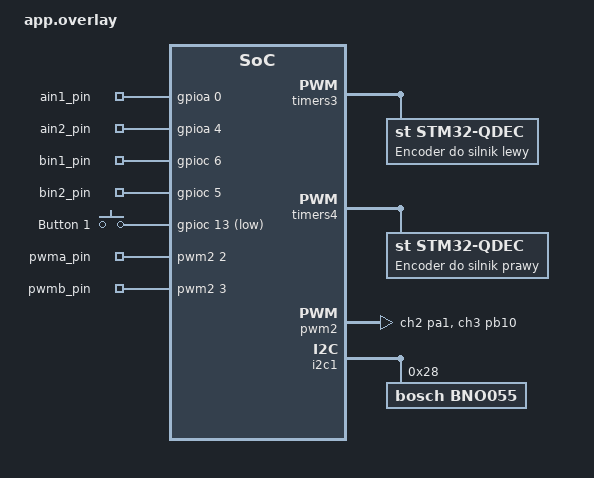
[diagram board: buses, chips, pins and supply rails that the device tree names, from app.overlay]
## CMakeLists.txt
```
cmake_minimum_required(VERSION 3.20)
find_package(Zephyr REQUIRED HINTS $ENV{ZEPHYR_BASE})
project(testsilnika)
target_sources(app PRIVATE src/main.c src/shared_data.h src/task_motors.c src/task_motors.h src/task_imu.c src/imu.c)
```

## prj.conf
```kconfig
CONFIG_GPIO=y
CONFIG_PWM=y
CONFIG_SENSOR=y
CONFIG_PRINTK=y
CONFIG_QDEC_STM32=y
CONFIG_CBPRINTF_FP_SUPPORT=y
CONFIG_I2C=y
CONFIG_BNO55=y
```

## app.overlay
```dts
/{
    aliases {
        motor-ain1 = &ain1_pin;
        motor-ain2 = &ain2_pin;
        motor-bin1 = &bin1_pin;
        motor-bin2 = &bin2_pin;
        motor-pwma = &pwma_pin;
        motor-pwmb = &pwmb_pin;
        encoder-left = &qdec_l;
        encoder-right = &qdec_r;

    };

    leds {
        compatible = "gpio-leds";
        ain1_pin: ain1 {
            gpios = <&gpioa 0 GPIO_ACTIVE_HIGH>;
        };
        ain2_pin: ain2 {
            gpios = <&gpioa 4 GPIO_ACTIVE_HIGH>;
        };
        bin1_pin: bin1 {
            gpios = <&gpioc 6 GPIO_ACTIVE_HIGH>;
        };
        bin2_pin: bin2 {
            gpios = <&gpioc 5 GPIO_ACTIVE_HIGH>;
        };
    };

    gpio_keys {
        compatible = "gpio-keys";
        button1: button1 {
            gpios = <&gpioc 13 GPIO_ACTIVE_LOW>;
            label = "Button 1";
            // linux,code = <28>;
        };
    };

    pwm_motors {
        compatible = "pwm-leds";
        pwma_pin: pwma {
            /* 100 000 nanosekund = 10 kHz */
            pwms = <&pwm2 2 100000 PWM_POLARITY_NORMAL>;
        };
        pwmb_pin:pwmb {
            /* 100 000 nanosekund = 10 kHz */
            pwms = <&pwm2 3 100000 PWM_POLARITY_NORMAL>;
        };
    };
};

&timers3 {
    status = "okay";

    pwm {
        status = "disabled";
    };

    qdec_l: encoder_left {
        compatible = "st,stm32-qdec";
        status = "okay";
        pinctrl-0 = <&tim3_ch1_pa6 &tim3_ch2_pa7>;
        pinctrl-names = "default";
        st,counts-per-revolution = <660>;
        label = "Encoder do silnik lewy";
    };
};
&timers4 {
    status = "okay";

    pwm {
        status = "disabled";
    };
    qdec_r: encoder_right {
        compatible = "st,stm32-qdec";
        status = "okay";
        pinctrl-0 = <&tim4_ch1_pb6 &tim4_ch2_pb7>;
        pinctrl-names = "default";
        st,counts-per-revolution = <660>;
        label = "Encoder do silnik prawy";
    };
};


&pwm2 {
    status = "okay";
    pinctrl-0 = <&tim2_ch2_pa1 &tim2_ch3_pb10>;
    pinctrl-names = "default";
};

&i2c1 {

    status ="okay";

    bno055@28{
    compatible ="bosch,bno055";
    status = "okay";
    reg = <0x28>;
    };

};

&spi1 {
    status = "disabled";
};
```

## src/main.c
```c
#include <zephyr/kernel.h>
#include <zephyr/drivers/gpio.h>
#include <zephyr/drivers/pwm.h>
#include <zephyr/drivers/sensor.h>
#include <zephyr/devicetree.h>
#include <zephyr/drivers/i2c.h>
#include "shared_data.h"

//aliasy
 const struct gpio_dt_spec ain1 = GPIO_DT_SPEC_GET(DT_ALIAS(motor_ain1), gpios);
 const struct gpio_dt_spec ain2 = GPIO_DT_SPEC_GET(DT_ALIAS(motor_ain2), gpios);
 const struct gpio_dt_spec bin1 = GPIO_DT_SPEC_GET(DT_ALIAS(motor_bin1), gpios);
 const struct gpio_dt_spec bin2 = GPIO_DT_SPEC_GET(DT_ALIAS(motor_bin2), gpios);

 const struct pwm_dt_spec pwma = PWM_DT_SPEC_GET(DT_ALIAS(motor_pwma));
 const struct pwm_dt_spec pwmb = PWM_DT_SPEC_GET(DT_ALIAS(motor_pwmb));
 const struct device *const encoder_left = DEVICE_DT_GET(DT_ALIAS(encoder_left));
 const struct device *const encoder_right = DEVICE_DT_GET(DT_ALIAS(encoder_right));
 const struct i2c_dt_spec imu = I2C_DT_SPEC_GET(DT_ALIAS(imu));

 atomic_t robot_state = ATOMIC_INIT(STATE_OKAY); // inicjalizujemy stan poczatkowy robotaja na ok;



int main(void)
{
    if (!gpio_is_ready_dt(&ain1) || !gpio_is_ready_dt(&ain2) || !pwm_is_ready_dt(&pwma) || !device_is_ready(encoder_left) || !device_is_ready(encoder_right) || !i2c_is_ready_dt(&imu) || !gpio_is_ready_dt(&bin1) || !gpio_is_ready_dt(&bin2) || !pwm_is_ready_dt(&pwmb)) {
        printk("BLAD: Sprzet nie jest gotowy!\n");

        
        return 0;
    }

    
    gpio_pin_configure_dt(&ain1, GPIO_OUTPUT_ACTIVE);
    gpio_pin_configure_dt(&ain2, GPIO_OUTPUT_INACTIVE);


    gpio_pin_configure_dt(&bin1, GPIO_OUTPUT_ACTIVE);
    gpio_pin_configure_dt(&bin2, GPIO_OUTPUT_INACTIVE);

   

    printk("Main konczy prace, oddaje sterowanie do taskow!\n");

    return 0;
}
```

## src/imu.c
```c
#include "imu.h"

#define BNO055_REG_OPR_MODE   0x3D
#define BNO055_MODE_NDOF      0x0C
#define BNO055_REG_CALIB_STAT 0x35
#define BNO055_REG_EULER_BASE 0x1A

extern const struct i2c_dt_spec imu;




bool imu_turn_on(void)
{
 

uint8_t buffer[2] = {BNO055_REG_OPR_MODE, BNO055_MODE_NDOF};
int ret = i2c_write_dt(&imu, buffer, sizeof(buffer));
  if(ret != 0)
  {
    printk("FAILED TO TURN ON IMU\n");
    return false;
  }
  return true;
}

bool imu_if_ready(void)
{
  uint8_t reg_addr = BNO055_REG_CALIB_STAT;
  uint8_t calib_state = 0;

  int ret =  i2c_write_read_dt(&imu,&reg_addr,1, &calib_state, 1);

  if(ret!=0)
  {
    return false;
  }
  //0xFF czyli jesli wszystko dziala gyro,akcelerometr magnetrometr
  if(calib_state < 0xFF)
  {
    return true;
  }
  return false;
}

bool imu_read_data(float *yaw, float *roll,float *pitch)
{
    uint8_t reg_addr = BNO055_REG_EULER_BASE;
    uint8_t data_buff[6] = {0};

    int ret = i2c_write_read_dt(&imu,&reg_addr,1,data_buff,6);

    if(ret !=0)
    {
        printk("FAILED TO WRITE/READ DATA I2C device adress\n");
        return false;
    }

    *yaw   = (float)((int16_t)((data_buff[1] << 8) | data_buff[0]))/16.0f;
    *roll  = (float)((int16_t)((data_buff[3] << 8) | data_buff[2]))/16.0f;
    *pitch = (float)((int16_t)((data_buff[5] << 8) | data_buff[4]))/16.0f;

    return true;
}
```

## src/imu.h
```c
#include <zephyr/drivers/i2c.h>
#include "stdlib.h"

bool imu_turn_on(void);


bool imu_if_ready(void);
bool imu_read_data(float *yaw, float *roll, float *pitch);
```

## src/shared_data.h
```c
typedef struct {
    float v_left_mps;  // predkosc lewego kola w metrach na sekunde
    float v_right_mps; // predkosc prawego kola w metrach na sekunde
    int32_t timestamp_ms;     // czas w milisekundach od uruchomienia programu
    int64_t acumulated_left_encoder_ticks;  // skumulowana liczba tickow z lewego enkodera
    int64_t acumulated_right_encoder_ticks; // skumulowana liczba tickow z prawego enkodera
    float motor_angular_speed;
    float robot_speed_mps;
    } motor_sample_t;


typedef struct {
    float yaw;
    float roll;
    float pitch;
} imu_sample_t;

typedef enum{
    STATE_OKAY = 0,
    STATE_TIPPED,
    STATE_SENSOR_ERROR,
    STATE_ROS_ERROR,
    STATE_MOTOR_FAULT,
    STATE_LOW_BATTERY,//jak dojdzie akus kiedys

} robot_state_t;
```

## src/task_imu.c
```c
#define  STACK_SIZE 1024
#define PRIORITY 4
#define SAMPLE_PERIOD_MS 10

#include <zephyr/kernel.h>
#include <zephyr/drivers/gpio.h>
#include <zephyr/drivers/sensor.h>
#include "shared_data.h"
#include <zephyr/drivers/i2c.h>

#include "imu.h"




//thread definition
void task_imu(void *arg1,void *arg2,void *arg3);

//task definition
K_THREAD_DEFINE(imu_thread_id, STACK_SIZE, task_imu, NULL, NULL, NULL, PRIORITY, 0, 0);

//timer to better synchronize
K_TIMER_DEFINE(imu_sample_timer,NULL,NULL);

//i2c struct
extern const struct i2c_dt_spec imu;

void task_imu(void *arg1,void *arg2,void *arg3)
{
  

    k_msleep(50);

    k_timer_start(&imu_sample_timer, K_MSEC(SAMPLE_PERIOD_MS), K_MSEC(SAMPLE_PERIOD_MS));

    //variables to store imu data (yaw,pitch,roll)
    float yaw = 0.0f;
    float pitch = 0.0f;
    float roll = 0.0f;

    if(!imu_turn_on())
    {
      //doda sie state machine ogolnie 
      printk("Blad wlaczenia czujnika!\n");
    }

     
    
   

    

    for(;;)
    {
        
      if(imu_if_ready()){
      
          if(imu_read_data(&yaw,&roll,&pitch))
      {
          if(abs(roll)<30.0f || abs(pitch)<30.0f)
          {
            //test
            printk("yaw: %d,roll: %d,pitch: %d\n",(int)yaw, (int)roll, (int)pitch);
            
          }
          else
          {
             printk("robot sie wyjebal");
             //TODO: dodanie maszyny stanow
          }
      }
    }
     
      
       
       

    k_timer_status_sync(&imu_sample_timer);
      
  
  
  }
    
    
}
```

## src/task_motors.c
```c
#define STACK_SIZE 1024
#define PRIORITY 4
#define SAMPLE_PERIOD_MS 10
#define WHEEL_BASE_MM 400
#define WHEEL_RADIUS_MM 65
#define PWM_PERIOD_NS 100000
#define KP 0.15f
#define KI 0.03f
#define KD 0.00f

#include <zephyr/kernel.h>
#include <zephyr/drivers/gpio.h>
#include <zephyr/drivers/pwm.h>
#include <zephyr/drivers/sensor.h>
#include <math.h>
#include "shared_data.h"
#include "task_motors.h"


#ifndef M_PI
#define M_PI 3.14159265358979f
#endif

//thread definition
void motor_task(void *arg1, void *arg2, void *arg3);

K_THREAD_DEFINE(motor_thread_id, STACK_SIZE, motor_task, NULL, NULL, NULL, PRIORITY, 0, 0);

// struct k_thread motor_thread_data;

// k_tid_t motor_thread_id = k_thread_create(&motor_thread_data, motor_thread_stack, STACK_SIZE, motor_task, NULL, NULL, NULL, PRIORITY, 0, K_NO_WAIT);

//filtr
static float filtered_v_left = 0.0f;
static float filtered_v_right = 0.0f;

//robot status
extern atomic_t robot_state;

//encoder structs
extern const struct device *const encoder_left;
extern const struct device *const encoder_right;

//motor pwm struct

extern const struct pwm_dt_spec pwma;
extern const struct pwm_dt_spec pwmb;

//ain1,ain2,bin1,bin2
extern const struct gpio_dt_spec ain1;
extern const struct gpio_dt_spec ain2;
extern const struct gpio_dt_spec bin1;
extern const struct gpio_dt_spec bin2;

//TIMER  to better synchornize 
K_TIMER_DEFINE(motor_sample_timer,NULL,NULL);

//queue definition
K_MSGQ_DEFINE(motor_msg, sizeof(motor_sample_t), 5, 4);

void set_velocity_motor(int32_t target_velocity_ignoruj_to, struct gpio_dt_spec* in1, struct gpio_dt_spec* in2, const struct pwm_dt_spec* pwm, int32_t pwm_pid_value)
{
    
    if(pwm_pid_value > 0) { 
        gpio_pin_set_dt(in1, 1);
        gpio_pin_set_dt(in2, 0);
    }
    else if(pwm_pid_value < 0) { 
        gpio_pin_set_dt(in1, 0);
        gpio_pin_set_dt(in2, 1);
    }
    else {
        gpio_pin_set_dt(in1, 0);
        gpio_pin_set_dt(in2, 0);
    }
    
   
    int32_t duty_cycle = abs(pwm_pid_value) * PWM_PERIOD_NS / 100;
    pwm_set_dt(pwm, PWM_PERIOD_NS, duty_cycle);
}

int32_t unwrap_delta_millideg(struct sensor_value* actual_val, struct sensor_value* last_val)
{
    int32_t current_pos = actual_val->val1 * 1000 + actual_val->val2 / 1000;
    int32_t last_pos = last_val->val1 * 1000 + last_val->val2 / 1000;

    int32_t delta_pos = current_pos - last_pos;

    if (delta_pos > 180000)  delta_pos -= 360000;
    if (delta_pos < -180000) delta_pos += 360000;

    return delta_pos;
}

float calculate_linear_speed(int32_t delta_millideg, int64_t time_period_ms)
{
    return (float)delta_millideg / 360000.0f * 1000.0f / time_period_ms * 2 * WHEEL_RADIUS_MM * M_PI;
}


float calculate_angular_speed(float v_left,float v_right,int64_t time_period)
{
    return(v_right-v_left)/WHEEL_BASE_MM;
}
float calculate_robot_speed(float v_left,float v_right)
{
    return (v_left+v_right)/2.0f;
}

float calculate_pid_and_set_pwm(float v_now,float v_target,pid_state_t* pid_state,int64_t dt_ms)
{
    float error = v_target-v_now;
    float dt_s = dt_ms/1000.0f;
    //kp
    float k_p = KP*error;

    //ki
    pid_state->integral += error *dt_s;
    
    if(pid_state->integral > 2000.0f) pid_state->integral = 2000.0f;
    if(pid_state->integral < -2000.0f) pid_state->integral = -2000.0f;

    float k_i = KI*pid_state->integral;

    //kd
    float k_d = (dt_s > 0.0f) ? (error - pid_state->prev_error) * KD / dt_s : 0.0f;

    pid_state->prev_error = error;
    float pwm_percent = k_p + k_i + k_d; // BEZ fabs()!

    if(pwm_percent > 100.0f) pwm_percent = 100.0f;
    if(pwm_percent < -100.0f) pwm_percent = -100.0f;

    return pwm_percent;
}


//TASK
void motor_task(void *arg1, void *arg2, void *arg3) 
{

    motor_sample_t motor_data ={0};

    //testy
    static pid_state_t pid_left = {0};
    static pid_state_t pid_right = {0};

   
    //strucy na dane z enkoderow
    struct sensor_value left_position_actual;
    struct sensor_value right_position_actual;

    struct sensor_value left_position_last;
    struct sensor_value right_position_last;

    k_timer_start(&motor_sample_timer, K_MSEC(SAMPLE_PERIOD_MS), K_MSEC(SAMPLE_PERIOD_MS));

    //  pwm_set_dt(&pwma, 100000, 70000); // na testy
    //  pwm_set_dt(&pwmb, 100000, 70000); // na testy

     int64_t last_time_ms = k_uptime_get();

     // Przed pętlą while(1) - odczyt startowy, żeby nie mieć skoku od 0
    
    //zczytanie zeby uniknac skoku od 0
    sensor_sample_fetch(encoder_left);
    sensor_channel_get(encoder_left, SENSOR_CHAN_ROTATION, &left_position_actual);
    sensor_sample_fetch(encoder_right);
    sensor_channel_get(encoder_right, SENSOR_CHAN_ROTATION, &right_position_actual);


while (1) {

        robot_state_t current_state = (robot_state_t)atomic_get(&robot_state);
        
        if(current_state == STATE_TIPPED || current_state == STATE_SENSOR_ERROR || current_state == STATE_MOTOR_FAULT)
        {
            set_velocity_motor(0,&ain1,&ain2,&pwma,0);
            set_velocity_motor(0,&bin1,&bin2,&pwmb,0);
            k_timer_status_sync(&motor_sample_timer);
            continue;
        }

        left_position_last.val1 = left_position_actual.val1;
        left_position_last.val2 = left_position_actual.val2;
        
        right_position_last.val1 = right_position_actual.val1;
        right_position_last.val2 = right_position_actual.val2;

        // ODCZYT LEWEGO
        int err_left = sensor_sample_fetch(encoder_left);
        if(err_left == 0) {
            sensor_channel_get(encoder_left, SENSOR_CHAN_ROTATION, &left_position_actual);
        } else {
            printk("Blad odczytu LEWEGO enkodera\n");
        }

        // ODCZYT PRAWEGO
        int err_right = sensor_sample_fetch(encoder_right);
        if(err_right == 0) {
            sensor_channel_get(encoder_right, SENSOR_CHAN_ROTATION, &right_position_actual);
        } else {
            printk("Blad odczytu PRAWEGO enkodera\n");
        }
        

        // na debug
        printk("Left Encoder: Val1: %d | Val2: %d\n", left_position_actual.val1, left_position_actual.val2);
        printk("Right Encoder: Val1: %d | Val2: %d\n", right_position_actual.val1, right_position_actual.val2);

        int64_t now_ms = k_uptime_get();
        
        int64_t dt_ms = (now_ms-last_time_ms);

        last_time_ms = now_ms;

        int32_t delta_left  = unwrap_delta_millideg(&left_position_actual, &left_position_last);
        int32_t delta_right = unwrap_delta_millideg(&right_position_actual, &right_position_last);

        //jnesli kola robota stoja 
        //i dojdzie tu if jesli zadana predkosc jest wieksza niz zero ale to juz po implementacji rosowej
        // if(abs(delta_right)<50 || abs(delta_left)<50)
        // {
        //     atomic_set(&robot_state,STATE_MOTOR_FAULT);
        // }

       float raw_v_left = calculate_linear_speed(delta_left, dt_ms);
       float raw_v_right = calculate_linear_speed(delta_right, dt_ms);

    //    filtered_v_left  = (0.2f * raw_v_left)  + (0.8f * filtered_v_left);
    //    filtered_v_right = (0.2f * raw_v_right) + (0.8f * filtered_v_right);

        float target_v_left = -150.5f;   // testowo, na sztywno
        float target_v_right = 200.5f;  // testowo, na sztywno

   
        float pwm_left  = calculate_pid_and_set_pwm(raw_v_left, target_v_left, &pid_left, dt_ms);
        float pwm_right  = calculate_pid_and_set_pwm(raw_v_right, target_v_right, &pid_right, dt_ms);

        set_velocity_motor((int32_t)(target_v_left*1000), &ain1, &ain2, &pwma, (int32_t)pwm_left);
        set_velocity_motor((int32_t)(target_v_right*1000), &bin1, &bin2, &pwmb, (int32_t)pwm_right);

        motor_data.v_left_mps = filtered_v_left;
    motor_data.v_right_mps = filtered_v_right;

        printk("L: now=%.2f target=%.2f pwm=%.0f | R: now=%.2f target=%.2f pwm=%.0f\n",
    (double)motor_data.v_left_mps, (double)target_v_left, (double)pwm_left,
    (double)motor_data.v_right_mps, (double)target_v_right, (double)pwm_right);

    printk("state: %d\n", current_state);

        motor_data.acumulated_left_encoder_ticks  += delta_left;
        motor_data.acumulated_right_encoder_ticks += delta_right;

        motor_data.motor_angular_speed = calculate_angular_speed(motor_data.v_left_mps,motor_data.v_right_mps,dt_ms);

        motor_data.robot_speed_mps = calculate_robot_speed(motor_data.v_left_mps,motor_data.v_right_mps);


        if(k_msgq_put(&motor_msg,&motor_data,K_NO_WAIT)==0)
        {
            //todo
        }
        else
        {
            //todo
        }

      

    // printk("v_l: %f | v_r: %f | ang_v: %f | v_lin: %f | acum_left: %lld | acum_right: %lld |\n",
    //    motor_data.v_left_mps, motor_data.v_right_mps, motor_data.motor_angular_speed,
    //    motor_data.robot_speed_mps, motor_data.acumulated_left_encoder_ticks, motor_data.acumulated_right_encoder_ticks);
       
        
        k_timer_status_sync(&motor_sample_timer);
        
        //TODO: dodac obliczenia predkosci acummutudted counta zaimplentowac pid oraz heading z odometrii(jeszcze imu dojdzie)
}
    }
```

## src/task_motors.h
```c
typedef struct
{
    float integral;
    float prev_error;
} pid_state_t;
```
